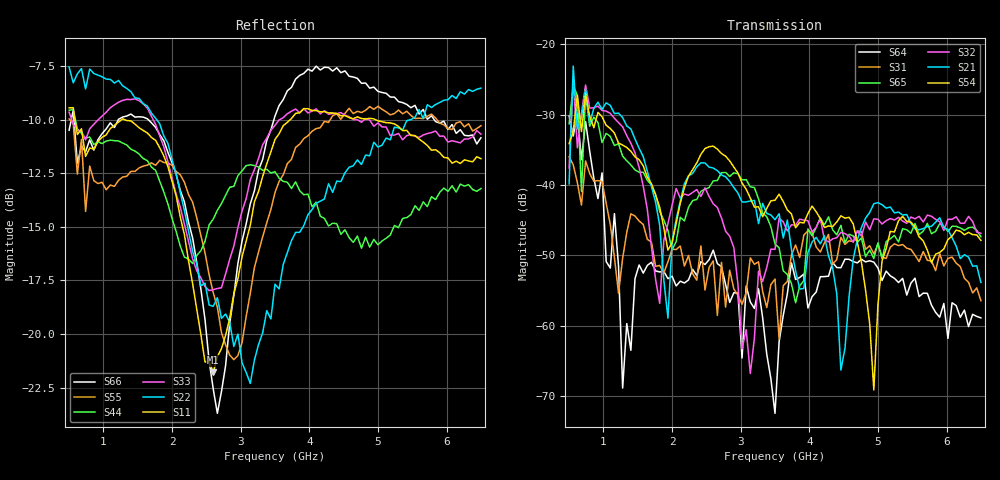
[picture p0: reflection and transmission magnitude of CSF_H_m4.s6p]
!Keysight Technologies,M9804A,MY58100912,A.14.10.03
!Date: Thursday, April 27, 2023 10:28:33
!Correction: S11(C  6-Port  )
!S12(C  6-Port  )
!S13(C  6-Port  )
!S14(C  6-Port  )
!S15(C  6-Port  )
!S16(C  6-Port  )
!S21(C  6-Port  )
!S22(C  6-Port  )
!S23(C  6-Port  )
!S24(C  6-Port  )
!S25(C  6-Port  )
!S26(C  6-Port  )
!S31(C  6-Port  )
!S32(C  6-Port  )
!S33(C  6-Port  )
!S34(C  6-Port  )
!S35(C  6-Port  )
!S36(C  6-Port  )
!S41(C  6-Port  )
!S42(C  6-Port  )
!S43(C  6-Port  )
!S44(C  6-Port  )
!S45(C  6-Port  )
!S46(C  6-Port  )
!S51(C  6-Port  )
!S52(C  6-Port  )
!S53(C  6-Port  )
!S54(C  6-Port  )
!S55(C  6-Port  )
!S56(C  6-Port  )
!S61(C  6-Port  )
!S62(C  6-Port  )
!S63(C  6-Port  )
!S64(C  6-Port  )
!S65(C  6-Port  )
!S66(C  6-Port  )
!S6P File: Measurement: :
# Hz S  RI  R 50
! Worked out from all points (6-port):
!   101 points, 500 MHz to 6.5 GHz, reference 50 ohm
!   strongest paths, dB at 500 MHz, 2 GHz, 3.5 GHz, 5 GHz, 6.5 GHz:
!     S54: -34.1, -48.2, -42.2, -57.0, -47.9
!     S21: -39.8, -48.1, -44.9, -42.5, -53.9
!     S32: -37.6, -42.9, -49.2, -44.9, -46.9
!     S65: -31.3, -49.2, -48.4, -48.2, -47.4
!     S31: -36.0, -49.1, -53.4, -48.4, -56.4
!     S64: -30.2, -53.0, -72.5, -51.8, -58.9
!   lowest |S11| = -21.8 dB at 2.6 GHz (marker M1), VSWR 1.18, Z = 42.7 + j1.9 ohm
!   |S11| at or under -10 dB: 586.9 MHz to 1.263 GHz (675.9 MHz wide, 73.1 % of centre); 1.313 GHz to 3.72 GHz (2.408 GHz wide, 95.7 % of centre); 4.966 GHz to end of sweep
